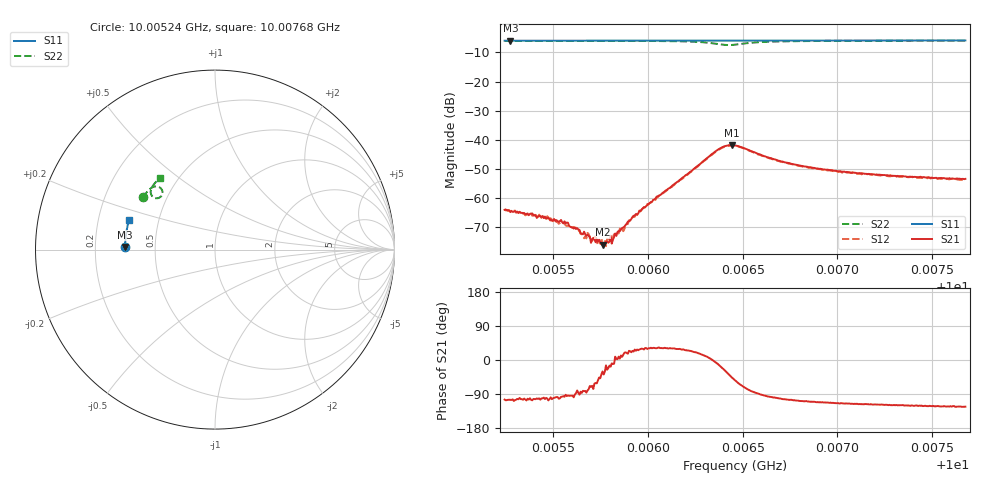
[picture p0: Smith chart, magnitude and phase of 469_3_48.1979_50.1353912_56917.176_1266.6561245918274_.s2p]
#  HZ  S  RI  R  50.00
! Rohde & Schwarz Vector Network Analyzer
! Rohde-Schwarz,ZNB20-2Port,1311601062101988,3.16
! Created: UTC 3/20/2024, 11:57:05 AM
! freq[Hz]  re:S11  im:S11  re:S21  im:S21  re:S12  im:S12  re:S22  im:S22
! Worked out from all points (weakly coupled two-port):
!   401 points, 10.00524 GHz to 10.00768 GHz, reference 50 ohm
!   highest |S21| = -41.78 dB at 10.00644 GHz (marker M1); lowest = -75.9 dB at 10.00576 GHz (marker M2)
!   lowest |S11| = -6.0 dB at 10.00527 GHz (marker M3), VSWR 3.01, Z = 16.6 + j0.643 ohm
!   |S11| at or under -10 dB: nowhere
!   |S22| runs from -7.5 to -6.0 dB; largest |S21 - S12| = 0.00058
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1.0005243e10  -0.5009 0.0125  -0.000157 -0.000613  -0.000139 -0.000629  -0.4007 0.2915
1.0005274e10  -0.5008 0.0145  -0.000152 -0.000558  -9.63e-05 -0.000588  -0.3994 0.2933
1.0005462e10  -0.5008 0.0269  -7.73e-05 -0.000438  -7.39e-05 -0.000455  -0.3917 0.3047
1.0005565e10  -0.5007 0.0334  -1.11e-05 -0.000371  -8.45e-06 -0.000342  -0.387 0.3106
1.000562e10  -0.5002 0.037  1.37e-05 -0.000297  9.23e-06 -0.000312  -0.3845 0.314
1.0005651e10  -0.5002 0.039  1.37e-05 -0.000247  4.95e-05 -0.000237  -0.383 0.3159
1.0005711e10  -0.5001 0.0431  4.91e-05 -0.000202  9.09e-05 -0.000184  -0.38 0.3197
1.000576e10  -0.4999 0.0463  0.000139 -8.08e-05  0.000128 -0.0001  -0.3773 0.3227
1.0005791e10  -0.4998 0.0483  0.00016 -6.27e-05  0.000198 -1.94e-05  -0.3755 0.3247
1.0005821e10  -0.4996 0.0502  0.000211 -3.76e-05  0.00024 -2.29e-05  -0.3739 0.3265
1.0005833e10  -0.4996 0.0509  0.000227 1.19e-05  0.000246 3.46e-05  -0.3732 0.3273
1.0005882e10  -0.4994 0.0541  0.000326 0.000121  0.000331 0.000117  -0.3702 0.3305
1.0005924e10  -0.4991 0.0569  0.000462 0.000191  0.000435 0.000226  -0.3673 0.3333
1.0006058e10  -0.4983 0.0656  0.000936 0.000608  0.000905 0.00061  -0.3563 0.3422
1.0006362e10  -0.4954 0.085  0.00649 -0.000917  0.0064 -0.000571  -0.2947 0.3306
1.0006405e10  -0.4948 0.0875  0.00695 -0.00353  0.00695 -0.00309  -0.2945 0.3067
1.0006441e10  -0.4946 0.0895  0.00572 -0.0058  0.00599 -0.00529  -0.3088 0.2901
1.000646e10  -0.4944 0.0907  0.00477 -0.00645  0.00502 -0.00608  -0.3189 0.2864
1.0006691e10  -0.4927 0.1054  -0.000846 -0.00431  -0.000608 -0.00427  -0.3576 0.3301
1.0006867e10  -0.4906 0.1168  -0.00115 -0.00313  -0.000974 -0.00312  -0.3496 0.3501
1.0007275e10  -0.4845 0.1425  -0.00116 -0.00215  -0.00105 -0.00213  -0.3285 0.3773
1.0007676e10  -0.4775 0.1673  -0.00117 -0.0018  -0.00106 -0.00178  -0.308 0.3972
